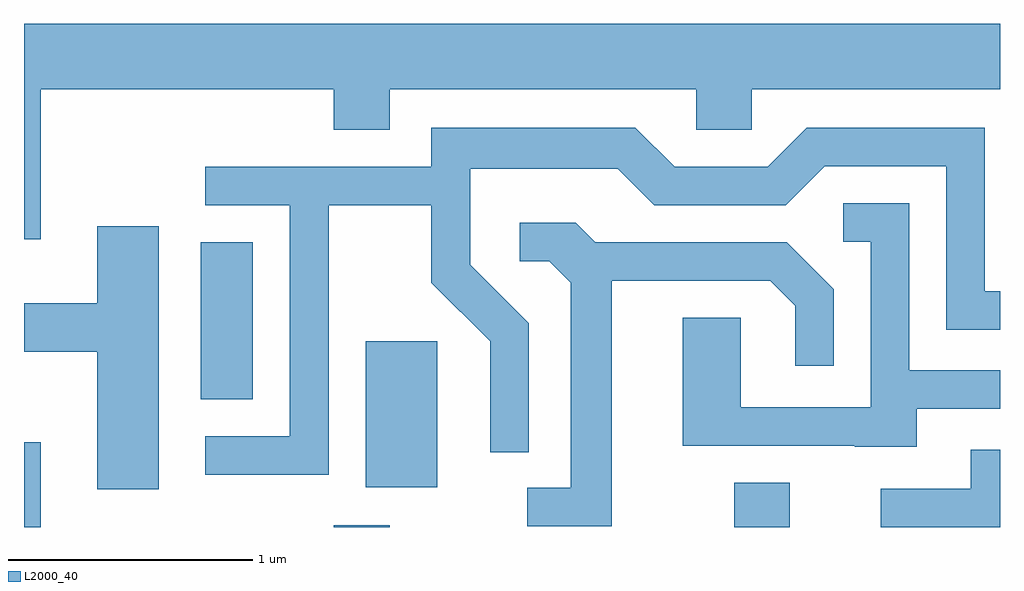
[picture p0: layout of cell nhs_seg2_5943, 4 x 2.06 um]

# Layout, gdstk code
import gdstk
lib = gdstk.Library(unit=1e-6, precision=1e-09)
def R(c, l, rs):  # rectangles x0, y0, x1, y1
    for r in rs: c.add(gdstk.rectangle(r[:2], r[2:], *l))
def P(c, l, *ps):  # polygons
    for p in ps: c.add(gdstk.Polygon(p, *l))
L2000_40 = (2000, 40)

nhs_seg2_5943 = lib.new_cell('nhs_seg2_5943')
R(nhs_seg2_5943, L2000_40, [(359.611,1099.802,359.679,1100.149), (360.881,1099.802,361.109,1099.809), (362.521,1099.802,362.749,1099.984), (361.011,1099.966,361.304,1100.564), (360.336,1100.326,360.549,1100.969)])
P(nhs_seg2_5943, L2000_40, [(359.679,1101.596),(360.881,1101.596),(360.881,1101.431),(361.109,1101.431),(361.109,1101.596),(362.366,1101.596),(362.366,1101.431),(362.594,1101.431),(362.594,1101.596),(363.611,1101.596),(363.611,1101.864),(359.611,1101.864),(359.611,1100.981),(359.679,1100.981)],
  [(360.859,1101.121),(361.281,1101.121),(361.281,1100.804),(361.521,1100.564),(361.521,1100.108),(361.679,1100.108),(361.679,1100.637),(361.439,1100.877),(361.439,1101.271),(362.044,1101.271),(362.194,1101.121),(362.732,1101.121),(362.892,1101.281),(363.391,1101.281),(363.391,1100.611),(363.611,1100.611),(363.611,1100.769),(363.549,1100.769),(363.549,1101.439),(362.819,1101.439),(362.659,1101.279),(362.277,1101.279),(362.117,1101.439),(361.281,1101.439),(361.281,1101.279),(360.353,1101.279),(360.353,1101.121),(360.701,1101.121),(360.701,1100.174),(360.353,1100.174),(360.353,1100.016),(360.859,1100.016)],
  [(363.269,1100.286),(363.611,1100.286),(363.611,1100.444),(363.239,1100.444),(363.239,1101.129),(362.968,1101.129),(362.968,1100.971),(363.081,1100.971),(363.081,1100.294),(362.549,1100.294),(362.549,1100.659),(362.311,1100.659),(362.311,1100.136),(363.015,1100.136),(363.015,1100.131),(363.269,1100.131)],
  [(362.019,1100.811),(362.669,1100.811),(362.771,1100.709),(362.771,1100.463),(362.929,1100.463),(362.929,1100.777),(362.737,1100.969),(361.952,1100.969),(361.872,1101.049),(361.643,1101.049),(361.643,1100.891),(361.764,1100.891),(361.851,1100.804),(361.851,1099.964),(361.673,1099.964),(361.673,1099.806),(362.019,1099.806)],
  [(360.164,1101.034),(359.911,1101.034),(359.911,1100.719),(359.611,1100.719),(359.611,1100.521),(359.911,1100.521),(359.911,1099.956),(360.164,1099.956)],
  [(363.611,1100.119),(363.491,1100.119),(363.491,1099.959),(363.123,1099.959),(363.123,1099.802),(363.611,1099.802)])

lib.write_gds('nhs_seg2_5943.gds')
